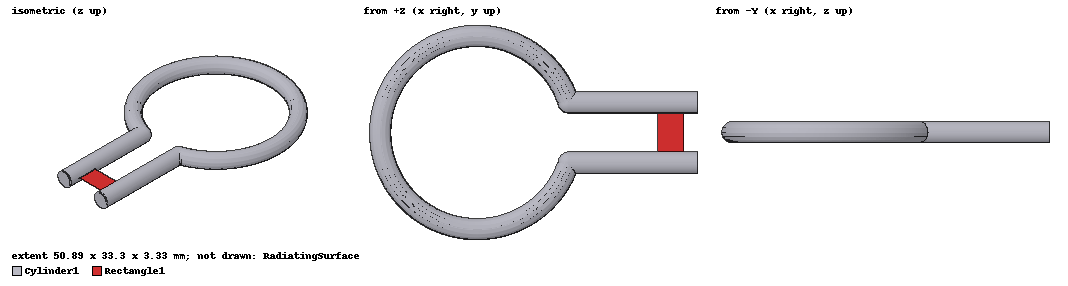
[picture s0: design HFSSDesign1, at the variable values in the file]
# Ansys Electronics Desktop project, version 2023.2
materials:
  vacuum: permittivity=1
  pec: conductivity=1e+30

design HFSSDesign1 (HFSS, HFSS Modal Network, model units mm)
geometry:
  Torus1 = torus(axis=Z, centre=(0mm, 0mm, 0mm), major_radius=14.99mm, minor_radius=1.66mm)
  Box1 = box(corner=(5mm, -4.66mm, -5mm), size=(15mm, 9.337mm, 20mm))
  Torus1.subtract(Box1)
  Cylinder1 [pec] = cylinder(axis=X, base_centre=(-8mm, 32mm, -3.32mm), radius=1.66mm, height=20mm)
  Cylinder1.move(22.240529mm, -36.66mm, 3.3199877mm)
  Cylinder2 = cylinder(axis=X, base_centre=(8mm, -32mm, -0.35mm), radius=1.66mm, height=20mm)
  Cylinder2.move(6.2348989mm, 36.677mm, 0.34001254mm)
  Sphere1 = sphere(centre=(4mm, -42mm, 0mm), radius=1.66mm)
  Sphere1.move(10.240529mm, 37.34mm, -1.2337704e-05mm)
  Sphere2 = sphere(centre=(-6mm, -32mm, 0mm), radius=1.66mm)
  Sphere2.move(20.234899mm, 36.677mm, -1.6599875mm)
  Sphere2.move(0mm, 0mm, 1.65mm)
  Rectangle1 = rectangle(corner=(28mm, -4.5mm, 0mm), x_size=4mm, y_size=9mm)
  Cylinder1.unite(Cylinder2, Sphere1, Sphere2, Torus1)
  RadiatingSurface [vacuum] = region(absolute_offset=33.333333mm on all sides)
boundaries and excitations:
  Open1: Radiation Objects=RadiatingSurface
  1: Lumped Port Objects=Rectangle1 LumpedPortType=Modal Modes{Mode1{IntLine{(30.2, -4.5, 0) -> (30.2, 4.5, 0)} CharImp=Zpi RenormImp=50ohm}} Impedance=50ohm
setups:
  Setup1: HfssDriven Frequency=3GHz MaxDeltaS=0.02 MaximumPasses=6 MinimumPasses=1 MinimumConvergedPasses=1 PercentRefinement=30 BasisOrder=1 PortAccuracy=2 DrivenSolverType="Direct Solver"
    sweep Sweep: 1.5GHz to 4.5GHz, 401 points; Type=Fast SaveFields
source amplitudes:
  1:1: 1W 0deg
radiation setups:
  3D: Infinite Sphere Theta=0deg..180deg step 2deg Phi=-180deg..180deg step 2deg
  Elevation: Infinite Sphere Theta=-180deg..180deg step 1deg Phi=0deg..90deg step 90deg
  Azimuth: Infinite Sphere Theta=90deg..90deg step 0deg Phi=-180deg..180deg step 1deg
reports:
  S Parameter Plot 1: dB(S(1,1)) vs Freq on Setup1 : Sweep
  S Parameter Plot 2: dB(S(1,1)) vs Freq on Setup1 : Sweep
  S Parameter Plot 3: dB(S(1,1)) vs Freq on Setup1 : Sweep
  Gain Plot 1: dB(GainTotal) vs Phi, Theta on Setup1 : LastAdaptive, 3D [Freq=3GHz]
